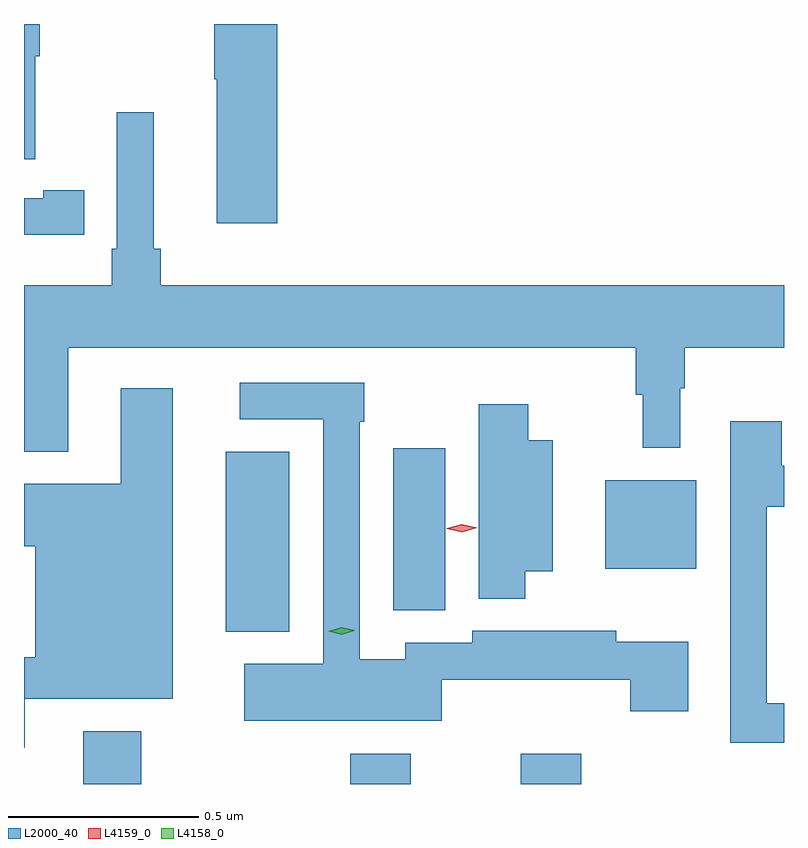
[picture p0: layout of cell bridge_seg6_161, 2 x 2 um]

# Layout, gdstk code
import gdstk
lib = gdstk.Library(unit=1e-6, precision=1e-09)
def R(c, l, rs):  # rectangles x0, y0, x1, y1
    for r in rs: c.add(gdstk.rectangle(r[:2], r[2:], *l))
def P(c, l, *ps):  # polygons
    for p in ps: c.add(gdstk.Polygon(p, *l))
L2000_40 = (2000, 40)
L4158_0 = (4158, 0)
L4159_0 = (4159, 0)

bridge_seg6_161 = lib.new_cell('bridge_seg6_161')
R(bridge_seg6_161, L2000_40, [(578.351,990.144,578.504,990.283), (579.053,990.144,579.213,990.223), (579.502,990.144,579.662,990.223), (578.726,990.545,578.893,991.019), (579.167,990.601,579.304,991.027), (579.725,990.71,579.964,990.943)])
P(bridge_seg6_161, L2000_40, [(578.861,992.144),(578.695,992.144),(578.695,991.999),(578.702,991.999),(578.702,991.62),(578.861,991.62)],
  [(578.225,992.059),(578.236,992.059),(578.236,992.144),(578.195,992.144),(578.195,991.788),(578.225,991.788)],
  [(578.311,991.292),(579.805,991.292),(579.805,991.169),(579.823,991.169),(579.823,991.029),(579.922,991.029),(579.922,991.186),(579.934,991.186),(579.934,991.292),(580.195,991.292),(580.195,991.456),(578.555,991.456),(578.555,991.552),(578.536,991.552),(578.536,991.912),(578.439,991.912),(578.439,991.552),(578.426,991.552),(578.426,991.456),(578.195,991.456),(578.195,991.019),(578.311,991.019)],
  [(578.246,991.59),(578.354,991.59),(578.354,991.706),(578.246,991.706),(578.246,991.686),(578.195,991.686),(578.195,991.589),(578.246,991.589)],
  [(579.294,990.419),(579.791,990.419),(579.791,990.336),(579.943,990.336),(579.943,990.518),(579.754,990.518),(579.754,990.547),(579.374,990.547),(579.374,990.516),(579.198,990.516),(579.198,990.472),(579.078,990.472),(579.078,991.097),(579.091,991.097),(579.091,991.2),(578.763,991.2),(578.763,991.104),(578.982,991.104),(578.982,990.46),(578.775,990.46),(578.775,990.311),(579.294,990.311)],
  [(578.197,990.368),(578.587,990.368),(578.587,991.186),(578.45,991.186),(578.45,990.934),(578.195,990.934),(578.195,990.77),(578.225,990.77),(578.225,990.478),(578.195,990.478),(578.195,990.24),(578.197,990.24)],
  [(579.514,990.704),(579.586,990.704),(579.586,991.048),(579.522,991.048),(579.522,991.144),(579.392,991.144),(579.392,990.632),(579.514,990.632)],
  [(580.195,990.357),(580.149,990.357),(580.149,990.873),(580.195,990.873),(580.195,990.982),(580.189,990.982),(580.189,991.099),(580.053,991.099),(580.053,990.252),(580.195,990.252)])
P(bridge_seg6_161, L4158_0, [(579.031,990.537),(578.996,990.546),(578.996,990.546),(578.996,990.546),(579.031,990.557),(579.066,990.548),(579.066,990.547),(579.066,990.547)])
P(bridge_seg6_161, L4159_0, [(579.348,990.807),(579.307,990.816),(579.307,990.816),(579.307,990.817),(579.347,990.827),(579.388,990.818),(579.388,990.818),(579.388,990.818)])

lib.write_gds('bridge_seg6_161.gds')
